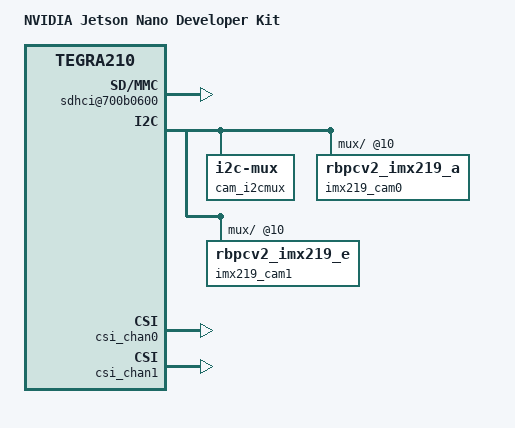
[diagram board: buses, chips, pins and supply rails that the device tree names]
/*
 * arch/arm64/boot/dts/tegra210-p3448-0002-p3449-0000-b00-for-rcm-boot.dts
 *
 * Copyright (c) 2020, NVIDIA CORPORATION.  All rights reserved.
 *
 * This program is free software; you can redistribute it and/or modify
 * it under the terms of the GNU General Public License as published by
 * the Free Software Foundation; version 2 of the License.
 *
 * This program is distributed in the hope that it will be useful, but WITHOUT
 * ANY WARRANTY; without even the implied warranty of MERCHANTABILITY or
 * FITNESS FOR A PARTICULAR PURPOSE.  See the GNU General Public License for
 * more details.
 *
 * You should have received a copy of the GNU General Public License along
 * with this program; if not, write to the Free Software Foundation, Inc.,
 * 51 Franklin Street, Fifth Floor, Boston, MA  02110-1301, USA.
 *
 */

#include "tegra210-porg-p3448-common.dtsi"
#include "porg-platforms/tegra210-porg-pinmux-p3448-0002-b00.dtsi"
#include "porg-platforms/tegra210-porg-gpio-p3448-0002-b00.dtsi"

/ {
	model = "NVIDIA Jetson Nano Developer Kit";
	compatible = "nvidia,jetson-nano", "nvidia,tegra210";
	nvidia,dtsfilename = __FILE__;

	sdhci@700b0600 { /* SDMMC4 for EMMC */
		status = "okay";
	};

	sdhci@700b0000 { /* SDMMC1 for SD card */
		status = "disabled";
	};

	spi@70410000 { /* QSPI */
		status = "disabled";
	};

	gpio@6000d000 {
			/* gpio-name for 40-pin header, gpio-name given as COL(10) x ROW(20) */
			gpio-line-names = "",   "",     "",     "",     "",     "",     "",     "",     "",     "",
			"",     "",     "SPI1_MOSI",    "SPI1_MISO",    "SPI1_SCK",     "SPI1_CS0",     "SPI0_MOSI",    "SPI0_MISO",    "SPI0_SCK",     "SPI0_CS0",
			"SPI0_CS1",     "",     "",     "",     "",     "",     "",     "",     "",     "",
			"",     "",     "",     "",     "",     "",     "",     "",     "GPIO13",      "",
			"",     "",     "",     "",     "",     "",     "",     "",     "",     "",
			"UART1_RTS",    "UART1_CTS",    "",     "",     "",     "",     "",     "",     "",     "",
			"",     "",     "",     "",     "",     "",     "",     "",     "",     "",
			"",     "",     "",     "",     "",     "",     "I2S0_FS",    "I2S0_DIN",    "I2S0_DOUT",   "I2S0_SCLK",
			"",     "",     "",     "",     "",     "",     "",     "",     "",     "",
			"",     "",     "",     "",     "",     "",     "",     "",     "",     "",
			"",     "",     "",     "",     "",     "",     "",     "",     "",     "",
			"",     "",     "",     "",     "",     "",     "",     "",     "",     "",
			"",     "",     "",     "",     "",     "",     "",     "",     "",     "",
			"",     "",     "",     "",     "",     "",     "",     "",     "",     "",
			"",     "",     "",     "",     "",     "",     "",     "",     "",     "GPIO01",
			"",     "",     "",     "",     "",     "",     "",     "",     "",     "",
			"",     "",     "",     "",     "",     "",     "",     "",     "GPIO07",   "",
			"",     "",     "",     "",     "",     "",     "",     "",     "",     "",
			"",     "",     "",     "",     "",     "",     "",     "",     "",     "",
			"",     "",     "",     "",     "GPIO12",       "",     "",     "",     "",     "",
			"GPIO11",      "",     "",     "",     "",     "",     "",     "",     "",     "",
			"",     "",     "",     "",     "",     "",     "GPIO09",     "",     "",     "",
			"",     "",     "",     "",     "",     "",     "",     "",     "",     "",
			"",     "",     "SPI1_CS1",     "",     "",     "",     "",     "",     "",     "";
	};

	cam_i2cmux {
		status = "okay";
		i2c_0: i2c@0 {
			status = "okay";
			imx219_cam0: rbpcv2_imx219_a@10 {
				status = "okay";
				ports {
					port@0 {
						status = "okay";
						rbpcv2_imx219_dual_out0: endpoint {
							status = "okay";
						};
					};
				};
			};
		};

		i2c_1: i2c@1 {
			status = "okay";
			imx219_cam1: rbpcv2_imx219_e@10 {
				status = "okay";
				ports {
					port@0 {
						status = "okay";
						rbpcv2_imx219_out1: endpoint {
							status = "okay";
						};
					};
				};
			};
		};
	};

	tcp: tegra-camera-platform {
		modules {
			cam_module0: module0 {
				status = "okay";
				cam_module0_drivernode0: drivernode0 {
					status = "okay";
				};
				cam_module0_drivernode1: drivernode1 {
					status = "okay";
				};
			};
			cam_module1: module1 {
				status = "okay";
				cam_module1_drivernode0: drivernode0 {
					status = "okay";
				};
				cam_module1_drivernode1: drivernode1 {
					status = "okay";
				};
			};
		};
	};

	host1x {
		vi_base: vi {
			num-channels = <2>;
			ports {
				vi_port0: port@0 {
					status = "okay";
					rbpcv2_imx219_vi_in0: endpoint {
						status = "okay";
					};
				};
				vi_port1: port@1 {
					status = "okay";
					rbpcv2_imx219_vi_in1: endpoint {
						status = "okay";
					};
				};
			};
		};

		csi_base: nvcsi {
			num-channels = <2>;
			csi_chan0: channel@0 {
				status = "okay";
				ports {
					csi_chan0_port0: port@0 {
						status = "okay";
						rbpcv2_imx219_csi_in0: endpoint@0 {
							status = "okay";
						};
					};
					csi_chan0_port1: port@1 {
						status = "okay";
						rbpcv2_imx219_csi_out0: endpoint@1 {
							status = "okay";
						};
					};
				};
			};
			csi_chan1: channel@1 {
				status = "okay";
				ports {
					csi_chan1_port0: port@2 {
						status = "okay";
						rbpcv2_imx219_csi_in1: endpoint@2 {
							status = "okay";
						};
					};
					csi_chan1_port1: port@3 {
						status = "okay";
						rbpcv2_imx219_csi_out1: endpoint@3 {
							status = "okay";
						};
					};
				};
			};
		};
	};

};

